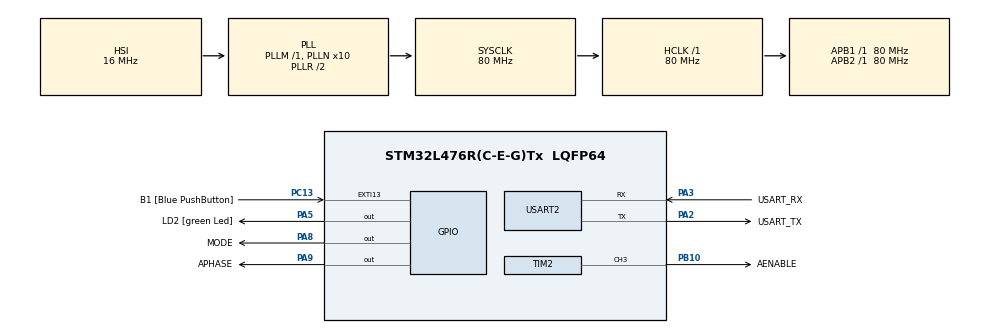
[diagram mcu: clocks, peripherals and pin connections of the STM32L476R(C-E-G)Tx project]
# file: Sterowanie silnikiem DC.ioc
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Mcu.Family=STM32L4
Mcu.Name=STM32L476R(C-E-G)Tx
Mcu.Package=LQFP64
NVIC.PriorityGroup=NVIC_PRIORITYGROUP_4
PA13\ (JTMS-SWDIO).GPIO_Label=TMS
PA13\ (JTMS-SWDIO).Mode=Serial_Wire
PA13\ (JTMS-SWDIO).Signal=SYS_JTMS-SWDIO
PA14\ (JTCK-SWCLK).GPIO_Label=TCK
PA14\ (JTCK-SWCLK).Mode=Serial_Wire
PA14\ (JTCK-SWCLK).Signal=SYS_JTCK-SWCLK
PA2.GPIO_Label=USART_TX
PA2.GPIO_Mode=GPIO_MODE_AF_PP
PA2.GPIO_PuPd=GPIO_NOPULL
PA2.GPIO_Speed=GPIO_SPEED_FREQ_VERY_HIGH
PA2.Mode=Asynchronous
PA2.Signal=USART2_TX
PA3.GPIO_Label=USART_RX
PA3.GPIO_Mode=GPIO_MODE_AF_PP
PA3.GPIO_PuPd=GPIO_NOPULL
PA3.GPIO_Speed=GPIO_SPEED_FREQ_VERY_HIGH
PA3.Mode=Asynchronous
PA3.Signal=USART2_RX
PA5.GPIO_Label=LD2 [green Led]
PA5.GPIO_ModeDefaultOutputPP=GPIO_MODE_OUTPUT_PP
PA5.GPIO_PuPd=GPIO_NOPULL
PA5.GPIO_Speed=GPIO_SPEED_FREQ_LOW
PA5.Signal=GPIO_Output
PA8.GPIO_Label=MODE
PA8.Signal=GPIO_Output
PA9.GPIO_Label=APHASE
PA9.Signal=GPIO_Output
PB10.GPIO_Label=AENABLE
PB10.Signal=S_TIM2_CH3
PB3\ (JTDO-TRACESWO).GPIO_Label=SWO
PB3\ (JTDO-TRACESWO).Signal=SYS_JTDO-SWO
PC13.GPIO_Label=B1 [Blue PushButton]
PC13.GPIO_ModeDefaultEXTI=GPIO_MODE_IT_FALLING
PC13.GPIO_PuPd=GPIO_NOPULL
PC13.Signal=GPXTI13
PC14-OSC32_IN\ (PC14).Mode=LSE-External-Oscillator
PC14-OSC32_IN\ (PC14).Signal=RCC_OSC32_IN
PC15-OSC32_OUT\ (PC15).Mode=LSE-External-Oscillator
PC15-OSC32_OUT\ (PC15).Signal=RCC_OSC32_OUT
PH0-OSC_IN\ (PH0).Signal=RCC_OSC_IN
PH1-OSC_OUT\ (PH1).Signal=RCC_OSC_OUT
ProjectManager.HeapSize=0x200
ProjectManager.StackSize=0x400
ProjectManager.TargetToolchain=STM32CubeIDE
RCC.ADCFreq_Value=64000000
RCC.AHBFreq_Value=80000000
RCC.APB1Freq_Value=80000000
RCC.APB1TimFreq_Value=80000000
RCC.APB2Freq_Value=80000000
RCC.APB2TimFreq_Value=80000000
RCC.CortexFreq_Value=80000000
RCC.HCLKFreq_Value=80000000
RCC.HSE_VALUE=8000000
RCC.HSI_VALUE=16000000
RCC.MSI_VALUE=4000000
RCC.PLLN=10
RCC.PLLSourceVirtual=RCC_PLLSOURCE_HSI
RCC.PREFETCH_ENABLE=1
RCC.SYSCLKFreq_VALUE=80000000
RCC.SYSCLKSource=RCC_SYSCLKSOURCE_PLLCLK
RCC.USBFreq_Value=64000000
RCC.VCOOutputFreq_Value=160000000
SH.S_TIM2_CH3.0=TIM2_CH3,PWM Generation3 CH3
TIM2.Channel-PWM\ Generation3\ CH3=TIM_CHANNEL_3
TIM2.Period=100-1
TIM2.Prescaler=40-1
USART2.VirtualMode-Asynchronous=VM_ASYNC
board=NUCLEO-L476RG

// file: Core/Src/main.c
/* USER CODE BEGIN Header */
/**
  ******************************************************************************
  * @file           : main.c
  * @brief          : Main program body
  ******************************************************************************
  * @attention
  *
  * <h2><center>&copy; Copyright (c) 2020 STMicroelectronics.
  * All rights reserved.</center></h2>
  *
  * This software component is licensed by ST under BSD 3-Clause license,
  * the "License"; You may not use this file except in compliance with the
  * License. You may obtain a copy of the License at:
  *                        opensource.org/licenses/BSD-3-Clause
  *
  ******************************************************************************
  */
/* USER CODE END Header */
#include "main.h"

TIM_HandleTypeDef htim2;

UART_HandleTypeDef huart2;

void SystemClock_Config(void);
static void MX_GPIO_Init(void);
static void MX_USART2_UART_Init(void);
static void MX_TIM2_Init(void);

int main(void)
{

  /* MCU Configuration--------------------------------------------------------*/

  /* Reset of all peripherals, Initializes the Flash interface and the Systick. */
  HAL_Init();

  /* Configure the system clock */
  SystemClock_Config();

  /* Initialize all configured peripherals */
  MX_GPIO_Init();
  MX_USART2_UART_Init();
  MX_TIM2_Init();
  /* USER CODE BEGIN 2 */
  drv8835_init();

  int pwm = 0, dir = CCW, inc_dec = 1;
  uint32_t time_tick = HAL_GetTick();

  drv8835_set_motorA_direction(dir);
  drv8835_set_motorA_speed(pwm);
  /* USER CODE END 2 */

  /* Infinite loop */
  /* USER CODE BEGIN WHILE */
  while (1)
  {
	  if((HAL_GetTick() - time_tick) > 20)
	  {
		  pwm += inc_dec;
		  drv8835_set_motorA_speed(pwm);

		  if(pwm >= 100)
		  {
			  inc_dec = -1;
		  }
		  else if(pwm <= 0)
		  {
			  inc_dec = 1;

			  if(dir == CCW)
				  dir = CW;
			  else if(dir == CW)
				  dir = CCW;

			  drv8835_set_motorA_direction(dir);
		  }

		  time_tick = HAL_GetTick();
	  }
    /* USER CODE END WHILE */

  }
}

void SystemClock_Config(void)
{
  RCC_OscInitTypeDef RCC_OscInitStruct = {0};
  RCC_ClkInitTypeDef RCC_ClkInitStruct = {0};
  RCC_PeriphCLKInitTypeDef PeriphClkInit = {0};

  /** Initializes the RCC Oscillators according to the specified parameters
  * in the RCC_OscInitTypeDef structure.
  */
  RCC_OscInitStruct.OscillatorType = RCC_OSCILLATORTYPE_HSI;
  RCC_OscInitStruct.HSIState = RCC_HSI_ON;
  RCC_OscInitStruct.HSICalibrationValue = RCC_HSICALIBRATION_DEFAULT;
  RCC_OscInitStruct.PLL.PLLState = RCC_PLL_ON;
  RCC_OscInitStruct.PLL.PLLSource = RCC_PLLSOURCE_HSI;
  RCC_OscInitStruct.PLL.PLLM = 1;
  RCC_OscInitStruct.PLL.PLLN = 10;
  RCC_OscInitStruct.PLL.PLLP = RCC_PLLP_DIV7;
  RCC_OscInitStruct.PLL.PLLQ = RCC_PLLQ_DIV2;
  RCC_OscInitStruct.PLL.PLLR = RCC_PLLR_DIV2;
  if (HAL_RCC_OscConfig(&RCC_OscInitStruct) != HAL_OK)
  {
    Error_Handler();
  }
  /** Initializes the CPU, AHB and APB buses clocks
  */
  RCC_ClkInitStruct.ClockType = RCC_CLOCKTYPE_HCLK|RCC_CLOCKTYPE_SYSCLK
                              |RCC_CLOCKTYPE_PCLK1|RCC_CLOCKTYPE_PCLK2;
  RCC_ClkInitStruct.SYSCLKSource = RCC_SYSCLKSOURCE_PLLCLK;
  RCC_ClkInitStruct.AHBCLKDivider = RCC_SYSCLK_DIV1;
  RCC_ClkInitStruct.APB1CLKDivider = RCC_HCLK_DIV1;
  RCC_ClkInitStruct.APB2CLKDivider = RCC_HCLK_DIV1;

  if (HAL_RCC_ClockConfig(&RCC_ClkInitStruct, FLASH_LATENCY_4) != HAL_OK)
  {
    Error_Handler();
  }
  PeriphClkInit.PeriphClockSelection = RCC_PERIPHCLK_USART2;
  PeriphClkInit.Usart2ClockSelection = RCC_USART2CLKSOURCE_PCLK1;
  if (HAL_RCCEx_PeriphCLKConfig(&PeriphClkInit) != HAL_OK)
  {
    Error_Handler();
  }
  /** Configure the main internal regulator output voltage
  */
  if (HAL_PWREx_ControlVoltageScaling(PWR_REGULATOR_VOLTAGE_SCALE1) != HAL_OK)
  {
    Error_Handler();
  }
}

static void MX_TIM2_Init(void)
{

  TIM_MasterConfigTypeDef sMasterConfig = {0};
  TIM_OC_InitTypeDef sConfigOC = {0};

  htim2.Instance = TIM2;
  htim2.Init.Prescaler = 40-1;
  htim2.Init.CounterMode = TIM_COUNTERMODE_UP;
  htim2.Init.Period = 100-1;
  htim2.Init.ClockDivision = TIM_CLOCKDIVISION_DIV1;
  htim2.Init.AutoReloadPreload = TIM_AUTORELOAD_PRELOAD_DISABLE;
  if (HAL_TIM_PWM_Init(&htim2) != HAL_OK)
  {
    Error_Handler();
  }
  sMasterConfig.MasterOutputTrigger = TIM_TRGO_RESET;
  sMasterConfig.MasterSlaveMode = TIM_MASTERSLAVEMODE_DISABLE;
  if (HAL_TIMEx_MasterConfigSynchronization(&htim2, &sMasterConfig) != HAL_OK)
  {
    Error_Handler();
  }
  sConfigOC.OCMode = TIM_OCMODE_PWM1;
  sConfigOC.Pulse = 0;
  sConfigOC.OCPolarity = TIM_OCPOLARITY_HIGH;
  sConfigOC.OCFastMode = TIM_OCFAST_DISABLE;
  if (HAL_TIM_PWM_ConfigChannel(&htim2, &sConfigOC, TIM_CHANNEL_3) != HAL_OK)
  {
    Error_Handler();
  }
  HAL_TIM_MspPostInit(&htim2);

}

static void MX_USART2_UART_Init(void)
{

  huart2.Instance = USART2;
  huart2.Init.BaudRate = 115200;
  huart2.Init.WordLength = UART_WORDLENGTH_8B;
  huart2.Init.StopBits = UART_STOPBITS_1;
  huart2.Init.Parity = UART_PARITY_NONE;
  huart2.Init.Mode = UART_MODE_TX_RX;
  huart2.Init.HwFlowCtl = UART_HWCONTROL_NONE;
  huart2.Init.OverSampling = UART_OVERSAMPLING_16;
  huart2.Init.OneBitSampling = UART_ONE_BIT_SAMPLE_DISABLE;
  huart2.AdvancedInit.AdvFeatureInit = UART_ADVFEATURE_NO_INIT;
  if (HAL_UART_Init(&huart2) != HAL_OK)
  {
    Error_Handler();
  }

}

static void MX_GPIO_Init(void)
{
  GPIO_InitTypeDef GPIO_InitStruct = {0};

  /* GPIO Ports Clock Enable */
  __HAL_RCC_GPIOC_CLK_ENABLE();
  __HAL_RCC_GPIOH_CLK_ENABLE();
  __HAL_RCC_GPIOA_CLK_ENABLE();
  __HAL_RCC_GPIOB_CLK_ENABLE();

  /*Configure GPIO pin Output Level */
  HAL_GPIO_WritePin(GPIOA, LD2_Pin|MODE_Pin|APHASE_Pin, GPIO_PIN_RESET);

  /*Configure GPIO pin : B1_Pin */
  GPIO_InitStruct.Pin = B1_Pin;
  GPIO_InitStruct.Mode = GPIO_MODE_IT_FALLING;
  GPIO_InitStruct.Pull = GPIO_NOPULL;
  HAL_GPIO_Init(B1_GPIO_Port, &GPIO_InitStruct);

  /*Configure GPIO pins : LD2_Pin MODE_Pin APHASE_Pin */
  GPIO_InitStruct.Pin = LD2_Pin|MODE_Pin|APHASE_Pin;
  GPIO_InitStruct.Mode = GPIO_MODE_OUTPUT_PP;
  GPIO_InitStruct.Pull = GPIO_NOPULL;
  GPIO_InitStruct.Speed = GPIO_SPEED_FREQ_LOW;
  HAL_GPIO_Init(GPIOA, &GPIO_InitStruct);

}

void Error_Handler(void)
{
}

/************************ (C) COPYRIGHT STMicroelectronics *****END OF FILE****/
